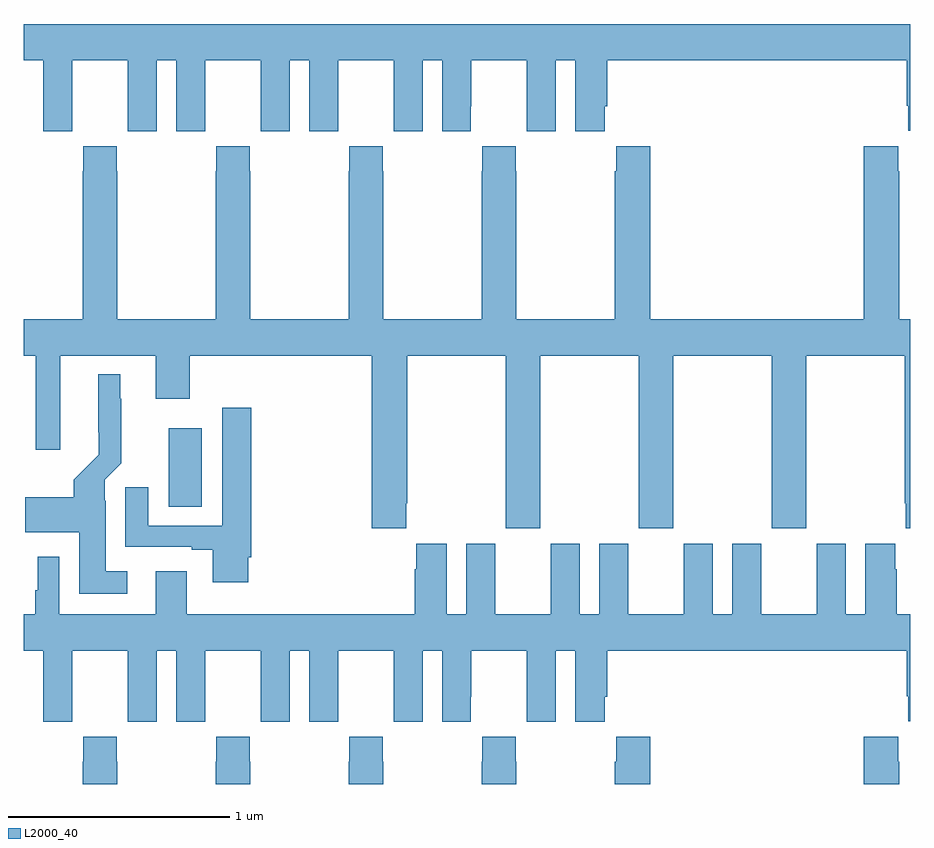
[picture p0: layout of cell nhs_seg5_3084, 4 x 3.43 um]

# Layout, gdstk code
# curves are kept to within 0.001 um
import gdstk
lib = gdstk.Library(unit=1e-6, precision=1e-09)
def R(c, l, rs):  # rectangles x0, y0, x1, y1
    for r in rs: c.add(gdstk.rectangle(r[:2], r[2:], *l))
def P(c, l, *ps):  # polygons
    for p in ps: c.add(gdstk.Polygon(p, *l))
L2000_40 = (2000, 40)

nhs_seg5_3084 = lib.new_cell('nhs_seg5_3084')
R(nhs_seg5_3084, L2000_40, [(289.655,884.05,289.804,884.404)])
P(nhs_seg5_3084, L2000_40, [(289.218,885.856),(289.219,885.856),(289.219,886.064),(289.469,886.064),(289.469,885.856),(289.47,885.856),(289.47,885.744),(289.6,885.744),(289.6,886.064),(289.688,886.064),(289.688,885.744),(289.818,885.744),(289.818,885.856),(289.819,885.856),(289.819,886.064),(290.069,886.064),(290.069,885.856),(290.07,885.856),(290.07,885.744),(290.2,885.744),(290.2,886.064),(290.288,886.064),(290.288,885.744),(290.418,885.744),(290.418,885.856),(290.419,885.856),(290.419,886.064),(290.669,886.064),(290.669,885.856),(290.67,885.856),(290.67,885.744),(290.8,885.744),(290.8,886.064),(290.888,886.064),(290.888,885.744),(291.018,885.744),(291.018,885.856),(291.019,885.856),(291.019,886.064),(291.269,886.064),(291.269,885.856),(291.27,885.856),(291.27,885.744),(291.4,885.744),(291.4,886.064),(291.488,886.064),(291.488,885.744),(291.622,885.744),(291.622,885.856),(291.632,885.856),(291.632,886.064),(292.985,886.064),(292.985,885.859),(292.991,885.859),(292.991,885.747),(293,885.747),(293,886.228),(289,886.228),(289,886.064),(289.088,886.064),(289.088,885.744),(289.218,885.744)],
  [(290.725,884.065),(290.73,884.065),(290.73,884.732),(291.175,884.732),(291.175,883.953),(291.33,883.953),(291.33,884.732),(291.775,884.732),(291.775,883.953),(291.93,883.953),(291.93,884.732),(292.375,884.732),(292.375,883.953),(292.53,883.953),(292.53,884.732),(292.975,884.732),(292.975,884.065),(292.979,884.065),(292.979,883.953),(293,883.953),(293,884.896),(292.95,884.896),(292.95,885.563),(292.945,885.563),(292.945,885.676),(292.79,885.676),(292.79,884.896),(291.827,884.896),(291.827,885.676),(291.673,885.676),(291.673,885.563),(291.667,885.563),(291.667,884.896),(291.222,884.896),(291.222,885.563),(291.219,885.563),(291.219,885.676),(291.069,885.676),(291.069,885.563),(291.067,885.563),(291.067,884.896),(290.622,884.896),(290.622,885.563),(290.619,885.563),(290.619,885.676),(290.469,885.676),(290.469,885.563),(290.467,885.563),(290.467,884.896),(290.022,884.896),(290.022,885.563),(290.019,885.563),(290.019,885.676),(289.869,885.676),(289.869,885.563),(289.867,885.563),(289.867,884.896),(289.422,884.896),(289.422,885.563),(289.419,885.563),(289.419,885.676),(289.269,885.676),(289.269,885.563),(289.267,885.563),(289.267,884.896),(289,884.896),(289,884.732),(289.055,884.732),(289.055,884.307),(289.165,884.307),(289.165,884.732),(289.595,884.732),(289.595,884.538),(289.748,884.538),(289.748,884.732),(290.57,884.732),(290.57,883.953),(290.725,883.953)],
  [(289.468,883.759),(289.369,883.759),(289.369,884.078),(289.365,884.078),(289.365,884.172),(289.439,884.246),(289.439,884.537),(289.435,884.537),(289.435,884.647),(289.337,884.647),(289.338,884.284),(289.225,884.171),(289.225,884.092),(289.008,884.092),(289.008,883.934),(289.25,883.934),(289.25,883.658),(289.468,883.658)],
  [(290.014,883.822),(290.027,883.822),(290.027,884.497),(289.895,884.497),(289.895,883.965),(289.561,883.965),(289.561,884.137),(289.457,884.137),(289.457,883.869),(289.757,883.869),(289.757,883.857),(289.853,883.857),(289.853,883.71),(290.014,883.71)],
  [(289.218,883.192),(289.219,883.192),(289.219,883.4),(289.469,883.4),(289.469,883.192),(289.47,883.192),(289.47,883.08),(289.6,883.08),(289.6,883.4),(289.688,883.4),(289.688,883.08),(289.818,883.08),(289.818,883.192),(289.819,883.192),(289.819,883.4),(290.069,883.4),(290.069,883.192),(290.07,883.192),(290.07,883.08),(290.2,883.08),(290.2,883.4),(290.288,883.4),(290.288,883.08),(290.418,883.08),(290.418,883.192),(290.419,883.192),(290.419,883.4),(290.669,883.4),(290.669,883.192),(290.67,883.192),(290.67,883.08),(290.8,883.08),(290.8,883.4),(290.888,883.4),(290.888,883.08),(291.018,883.08),(291.018,883.192),(291.019,883.192),(291.019,883.4),(291.269,883.4),(291.269,883.192),(291.27,883.192),(291.27,883.08),(291.4,883.08),(291.4,883.4),(291.488,883.4),(291.488,883.08),(291.622,883.08),(291.622,883.192),(291.632,883.192),(291.632,883.4),(292.985,883.4),(292.985,883.195),(292.991,883.195),(292.991,883.083),(293,883.083),(293,883.564),(292.94,883.564),(292.94,883.769),(292.933,883.769),(292.933,883.882),(292.796,883.882),(292.796,883.564),(292.708,883.564),(292.708,883.882),(292.577,883.882),(292.577,883.564),(292.327,883.564),(292.327,883.882),(292.196,883.882),(292.196,883.564),(292.108,883.564),(292.108,883.882),(291.977,883.882),(291.977,883.564),(291.727,883.564),(291.727,883.882),(291.596,883.882),(291.596,883.564),(291.508,883.564),(291.508,883.882),(291.377,883.882),(291.377,883.564),(291.127,883.564),(291.127,883.882),(290.996,883.882),(290.996,883.564),(290.908,883.564),(290.908,883.882),(290.771,883.882),(290.771,883.769),(290.765,883.769),(290.765,883.564),(289.735,883.564),(289.735,883.759),(289.595,883.759),(289.595,883.564),(289.161,883.564),(289.161,883.825),(289.064,883.825),(289.064,883.673),(289.053,883.673),(289.053,883.564),(289,883.564),(289,883.4),(289.088,883.4),(289.088,883.08),(289.218,883.08)],
  [(289.422,882.899),(289.419,882.899),(289.419,883.012),(289.269,883.012),(289.269,882.899),(289.267,882.899),(289.267,882.799),(289.422,882.799)],
  [(292.95,882.899),(292.945,882.899),(292.945,883.012),(292.79,883.012),(292.79,882.799),(292.95,882.799)],
  [(290.022,882.899),(290.019,882.899),(290.019,883.012),(289.869,883.012),(289.869,882.899),(289.867,882.899),(289.867,882.799),(290.022,882.799)],
  [(290.622,882.899),(290.619,882.899),(290.619,883.012),(290.469,883.012),(290.469,882.899),(290.467,882.899),(290.467,882.799),(290.622,882.799)],
  [(291.222,882.899),(291.219,882.899),(291.219,883.012),(291.069,883.012),(291.069,882.899),(291.067,882.899),(291.067,882.799),(291.222,882.799)],
  [(291.827,883.012),(291.673,883.012),(291.673,882.899),(291.667,882.899),(291.667,882.799),(291.827,882.799)])

lib.write_gds('nhs_seg5_3084.gds')
